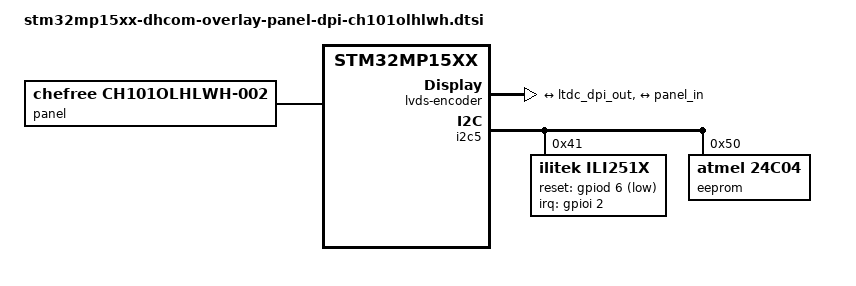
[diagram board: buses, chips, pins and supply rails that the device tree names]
// SPDX-License-Identifier: (GPL-2.0+ OR BSD-3-Clause)
/*
 * Copyright (C) 2021 Marek Vasut
 */
/dts-v1/;
/plugin/;

#include "stm32mp15xx-dhcom-overlay-panel-dpi.dtsi"

&{/} {
	lvds-encoder {
		compatible = "onnn,fin3385", "lvds-encoder";
		pclk-sample = <1>;

		ports {
			#address-cells = <1>;
			#size-cells = <0>;

			port@0 {
				reg = <0>;

				lvds_bridge_in: endpoint {
					remote-endpoint = <&ltdc_dpi_out>;
				};
			};

			port@1 {
				reg = <1>;

				lvds_bridge_out: endpoint {
					remote-endpoint = <&panel_in>;
				};
			};
		};
	};
};

&display_bl {
	pwms = <&pwm2 3 5000000 0>;
};

&i2c5 {
	#address-cells = <1>;
	#size-cells = <0>;

	ili251x@41 {
		compatible = "ilitek,ili251x";
		reg = <0x41>;
		interrupt-parent = <&gpioi>;
		interrupts = <2 IRQ_TYPE_EDGE_FALLING>;
		reset-gpios = <&gpiod 6 GPIO_ACTIVE_LOW>;
		touchscreen-size-x = <16384>;
		touchscreen-size-y = <9600>;
		touchscreen-inverted-x;
		touchscreen-inverted-y;
	};

	eeprom@50 {
		compatible = "atmel,24c04";
		reg = <0x50>;
		pagesize = <16>;
	};
};

&ltdc_dpi_out {
	remote-endpoint = <&lvds_bridge_in>;
};

&panel {
	compatible = "chefree,ch101olhlwh-002";
};

&panel_in {
	remote-endpoint = <&lvds_bridge_out>;
};
